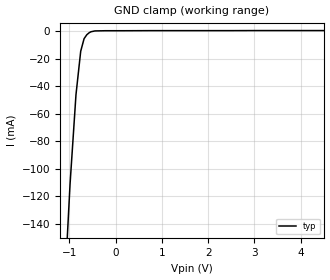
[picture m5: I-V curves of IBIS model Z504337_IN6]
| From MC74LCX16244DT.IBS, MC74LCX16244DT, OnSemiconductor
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| (C) COPYRIGHT 1993-2000
| MENTOR GRAPHICS CORPORATION
| ICX STANDARD LIBRARY, ICX PROJECT MODELING,
| ICX CUSTOM MODELING, ICX VENDOR MODEL
| ALL RIGHTS RESERVED.
| THE FOLLOWING ARE TRADEMARKS OR SERVICE MARKS OF
| MENTOR GRAPHICS CORPORATION:ICX (R), ICX STANDARD
| LIBRARY(R), ICX PROJECT MODELING(R), ICX CUSTOM
| MODELING(R), qualityIBIS(TM), MODELVIEWER(TM),
| AND MODELEDITOR(TM)
| ALL COPIES OF SOFTWARE, INCLUDING BUT NOT LIMITED TO
| ANY MODIFICATIONS, ENHANCEMENTS OR DERIVATIVE WORKS,
| MUST CONTAIN ALL MENTOR GRAPHICS CORPORATION'S
| NOTICES AND LEGENDS, INCLUDING THOSE EMBEDDED IN
| SOFTWARE AND THOSE AFFIXED TO SOFTWARE MEDIUM
| AND CONTAINER, AS RECEIVED FROM MENTOR GRAPHICS
| CORPORATION.
| Model Application Version 1.89 2/18/99.
[Model] Z504337_IN6
Model_type Input
Vinl = 800.0mV
Vinh = 2.000V
C_comp 4.000pF NA NA
| variable typ   min   max
[Voltage Range] 3.300V NA NA
[GND Clamp Reference] 0.000V NA NA
[POWER Clamp Reference] 3.300V NA NA
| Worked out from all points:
|   GND clamp passes 1 mA (typ) near -0.56 V on its own axis
[GND Clamp]
-3.3V     -1.608A    NA         NA
-986.3mV  -111.4mA   NA         NA
-857.8mV  -46.28mA   NA         NA
-755.5mV  -14.72mA   NA         NA
-682.7mV  -5.618mA   NA         NA
-625mV    -2.792mA   NA         NA
-532mV    -577.1uA   NA         NA
-224.6mV  165.1uA    NA         NA
6.6V      282uA      NA         NA
[POWER Clamp]
-3.3V     0A         NA         NA
6.6V      0A         NA         NA
